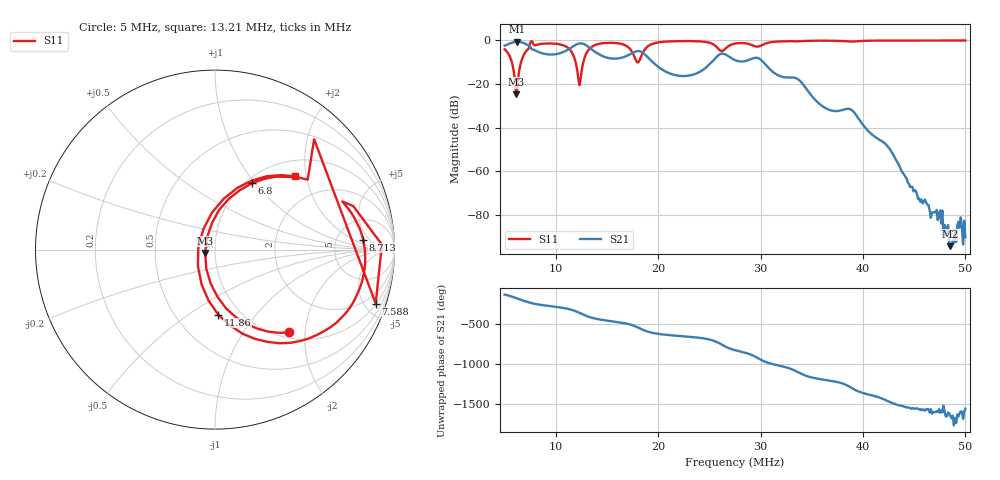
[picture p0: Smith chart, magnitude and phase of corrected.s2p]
! S11/S21 only; reverse parameters are placeholders. Device calibration unverified.
! [Saver CAL applied] C:\Users\aknya\MyProjects\rf-simulator\calibration2.cal | Ideal standards assumed | Input: NanoVNA F V2 profile | COM3 | 2026-09-08T12:03:52.9113156-04:00 | device calibration unverified
# HZ S RI R 50
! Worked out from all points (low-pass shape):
!   401 points, 5 MHz to 50 MHz, reference 50 ohm
!   highest |S21| = -0.69 dB at 6.237 MHz (marker M1); lowest = -94.1 dB at 48.54 MHz (marker M2)
!   |S21| within 3 dB of the highest: start of sweep to 7.568 MHz; 11.42 MHz to 13.36 MHz (1.936 MHz wide, 15.6 % of centre)
!   lowest |S11| = -24.8 dB at 6.125 MHz (marker M3), VSWR 1.12, Z = 44.8 - j1.64 ohm
!   |S11| at or under -10 dB: 5.699 MHz to 6.614 MHz (915.3 kHz wide, 14.9 % of centre); 11.93 MHz to 12.69 MHz (763.9 kHz wide, 6.21 % of centre); 17.92 MHz to 18.07 MHz (151.4 kHz wide, 0.841 % of centre)
!   S12 and S22 are empty: the file has one direction only
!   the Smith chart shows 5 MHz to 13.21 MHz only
!   S11 on the Smith chart (normalised r, x): 5 MHz: 1.11, -1.65; 6.8 MHz: 1.07, +0.97; 7.588 MHz: 1.06, -5.93; 8.713 MHz: 9, +3; 11.86 MHz: 0.79, -0.66; 13.21 MHz: 1.34, +1.72
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5000000  0.4116 -0.4611  -0.5134 -0.5443  0 0  0 0
6125000  -0.0547 -0.0183  -0.9182 -0.0463  0 0  0 0
6237500  -0.0449 0.0666  -0.9229 0.0392  0 0  0 0
6800000  0.2066 0.3699  -0.762 0.414  0 0  0 0
7587500  0.8953 -0.3008  -0.3427 0.5388  0 0  0 0
8712500  0.8259 0.0553  -0.043 0.4957  0 0  0 0
1.18625e7  0.018 -0.3626  0.7017 0.2991  0 0  0 0
1.25375e7  -0.0166 0.2069  0.8132 -0.2162  0 0  0 0
1.32125e7  0.4452 0.4087  0.4402 -0.5363  0 0  0 0
1.56875e7  0.808 -0.3089  -0.1273 -0.3565  0 0  0 0
1.715e7  0.2262 -0.6257  -0.3669 -0.2814  0 0  0 0
1.79375e7  -0.3071 -0.0545  -0.5586 -0.0161  0 0  0 0
1.8725e7  0.2415 0.5779  -0.332 0.3228  0 0  0 0
2.0075e7  0.8514 0.2678  -0.0236 0.2369  0 0  0 0
2.5925e7  0.4911 -0.3736  0.4403 -0.1316  0 0  0 0
2.75e7  0.7788 -0.3009  -0.0953 -0.3366  0 0  0 0
3.02e7  0.721 -0.3014  -0.1773 0.274  0 0  0 0
3.50375e7  0.6889 -0.6762  0.00198 -0.0516  0 0  0 0
4.2575e7  0.4414 -0.8707  0.00295 -0.00159  0 0  0 0
4.56125e7  0.3252 -0.9258  -0.000106 -0.000172  0 0  0 0
4.85375e7  0.2151 -0.9596  -1.74e-05 9.07e-06  0 0  0 0
5e7  0.1579 -0.967  -1.31e-05 -2.87e-05  0 0  0 0
